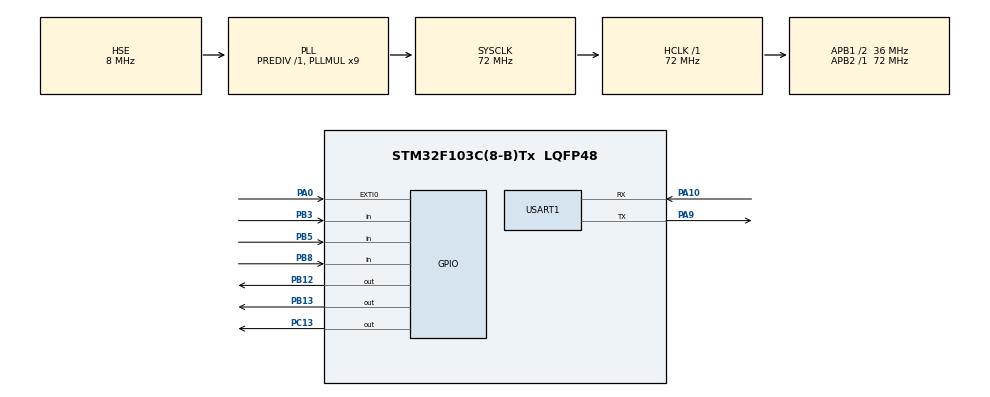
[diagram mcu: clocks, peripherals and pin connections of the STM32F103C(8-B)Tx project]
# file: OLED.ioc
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Mcu.Family=STM32F1
Mcu.Name=STM32F103C(8-B)Tx
Mcu.Package=LQFP48
NVIC.EXTI0_IRQn=true\:0\:0\:false\:false\:true\:true\:true\:true
NVIC.PriorityGroup=NVIC_PRIORITYGROUP_4
NVIC.TIM2_IRQn=true\:0\:0\:false\:false\:true\:true\:true\:true
PA0-WKUP.GPIO_PuPd=GPIO_PULLDOWN
PA0-WKUP.Signal=GPXTI0
PA10.Mode=Asynchronous
PA10.Signal=USART1_RX
PA13.Mode=Serial_Wire
PA13.Signal=SYS_JTMS-SWDIO
PA14.Mode=Serial_Wire
PA14.Signal=SYS_JTCK-SWCLK
PA9.Mode=Asynchronous
PA9.Signal=USART1_TX
PB12.GPIO_ModeDefaultOutputPP=GPIO_MODE_OUTPUT_OD
PB12.GPIO_PuPd=GPIO_PULLUP
PB12.PinState=GPIO_PIN_SET
PB12.Signal=GPIO_Output
PB13.GPIO_ModeDefaultOutputPP=GPIO_MODE_OUTPUT_OD
PB13.GPIO_PuPd=GPIO_PULLUP
PB13.PinState=GPIO_PIN_SET
PB13.Signal=GPIO_Output
PB3.GPIO_PuPd=GPIO_PULLUP
PB3.Signal=GPIO_Input
PB5.GPIO_PuPd=GPIO_PULLUP
PB5.Signal=GPIO_Input
PB8.GPIO_PuPd=GPIO_PULLUP
PB8.Signal=GPIO_Input
PC13-TAMPER-RTC.GPIO_ModeDefaultOutputPP=GPIO_MODE_OUTPUT_PP
PC13-TAMPER-RTC.GPIO_PuPd=GPIO_PULLUP
PC13-TAMPER-RTC.PinState=GPIO_PIN_SET
PC13-TAMPER-RTC.Signal=GPIO_Output
PC14-OSC32_IN.Mode=LSE-External-Oscillator
PC14-OSC32_IN.Signal=RCC_OSC32_IN
PC15-OSC32_OUT.Mode=LSE-External-Oscillator
PC15-OSC32_OUT.Signal=RCC_OSC32_OUT
PD0-OSC_IN.Mode=HSE-External-Oscillator
PD0-OSC_IN.Signal=RCC_OSC_IN
PD1-OSC_OUT.Mode=HSE-External-Oscillator
PD1-OSC_OUT.Signal=RCC_OSC_OUT
ProjectManager.HeapSize=0x200
ProjectManager.StackSize=0x400
ProjectManager.TargetToolchain=MDK-ARM V5.32
RCC.AHBFreq_Value=72000000
RCC.APB1CLKDivider=RCC_HCLK_DIV2
RCC.APB1Freq_Value=36000000
RCC.APB1TimFreq_Value=72000000
RCC.APB2Freq_Value=72000000
RCC.APB2TimFreq_Value=72000000
RCC.HCLKFreq_Value=72000000
RCC.PLLMUL=RCC_PLL_MUL9
RCC.PLLSourceVirtual=RCC_PLLSOURCE_HSE
RCC.RTCClockSelection=RCC_RTCCLKSOURCE_LSE
RCC.SYSCLKFreq_VALUE=72000000
RCC.SYSCLKSource=RCC_SYSCLKSOURCE_PLLCLK
RCC.USBFreq_Value=72000000
RTC.Date=20
RTC.Hours=20
RTC.Minutes=15
RTC.Month=RTC_MONTH_MARCH
RTC.OutPut=RTC_OUTPUTSOURCE_NONE
RTC.WeekDay=RTC_WEEKDAY_FRIDAY
RTC.Year=26
TIM2.AutoReloadPreload=TIM_AUTORELOAD_PRELOAD_ENABLE
TIM2.Period=1000
TIM2.Prescaler=71
USART1.VirtualMode=VM_ASYNC
VP_RTC_No_RTC_Output.Mode=RTC_OUT_NO
VP_RTC_VS_RTC_Activate.Mode=RTC_Enabled
VP_RTC_VS_RTC_Calendar.Mode=RTC_Calendar
VP_TIM2_VS_ClockSourceINT.Mode=Internal
board=custom

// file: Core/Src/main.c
/* USER CODE BEGIN Header */
/**
  ******************************************************************************
  * @file           : main.c
  * @brief          : Main program body
  ******************************************************************************
  * @attention
  *
  * Copyright (c) 2025 STMicroelectronics.
  * All rights reserved.
  *
  * This software is licensed under terms that can be found in the LICENSE file
  * in the root directory of this software component.
  * If no LICENSE file comes with this software, it is provided AS-IS.
  *
  ******************************************************************************
  */
/* USER CODE END Header */
#include "main.h"
#include "rtc.h"
#include "tim.h"
#include "usart.h"
#include "gpio.h"

/* USER CODE BEGIN PD */
int fputc(int ch,FILE*f)
{
  HAL_UART_Transmit(&huart1,(uint8_t*)&ch,1,HAL_MAX_DELAY);
  return ch;
}

/* USER CODE END PD */

void SystemClock_Config(void);

/* USER CODE BEGIN 0 */

uint8_t CurrMode=1,NextMode=1;

/* USER CODE END 0 */

int main(void)
{

  /* MCU Configuration--------------------------------------------------------*/

  /* Reset of all peripherals, Initializes the Flash interface and the Systick. */
  HAL_Init();

  /* Configure the system clock */
  SystemClock_Config();

  /* USER CODE BEGIN SysInit */
    /* 检查是否是待机唤醒 */

  /* USER CODE END SysInit */

  /* Initialize all configured peripherals */
  MX_GPIO_Init();
  MX_USART1_UART_Init();
  MX_RTC_Init();
  MX_TIM2_Init();
  /* USER CODE BEGIN 2 */
	OLED_Init();
  HAL_TIM_Base_Start_IT(&htim2);
  /* USER CODE END 2 */

  /* Infinite loop */
  /* USER CODE BEGIN WHILE */

  //使PC13引脚不被RTC控制
  while (1)
  {
    LOW_Loop();
    switch_Loop();
    if(CurrMode==NextMode)
    {
         GLOBAL_Loop(CurrMode);
    }
    else
    {
        GLOBAL_Exit(CurrMode);
        GLOBAL_init(NextMode);
        CurrMode=NextMode;
    }

  }
    /* USER CODE END WHILE */

}

void SystemClock_Config(void)
{
  RCC_OscInitTypeDef RCC_OscInitStruct = {0};
  RCC_ClkInitTypeDef RCC_ClkInitStruct = {0};
  RCC_PeriphCLKInitTypeDef PeriphClkInit = {0};

  /** Initializes the RCC Oscillators according to the specified parameters
  * in the RCC_OscInitTypeDef structure.
  */
  RCC_OscInitStruct.OscillatorType = RCC_OSCILLATORTYPE_HSE|RCC_OSCILLATORTYPE_LSE;
  RCC_OscInitStruct.HSEState = RCC_HSE_ON;
  RCC_OscInitStruct.HSEPredivValue = RCC_HSE_PREDIV_DIV1;
  RCC_OscInitStruct.LSEState = RCC_LSE_ON;
  RCC_OscInitStruct.HSIState = RCC_HSI_ON;
  RCC_OscInitStruct.PLL.PLLState = RCC_PLL_ON;
  RCC_OscInitStruct.PLL.PLLSource = RCC_PLLSOURCE_HSE;
  RCC_OscInitStruct.PLL.PLLMUL = RCC_PLL_MUL9;
  if (HAL_RCC_OscConfig(&RCC_OscInitStruct) != HAL_OK)
  {
    Error_Handler();
  }

  /** Initializes the CPU, AHB and APB buses clocks
  */
  RCC_ClkInitStruct.ClockType = RCC_CLOCKTYPE_HCLK|RCC_CLOCKTYPE_SYSCLK
                              |RCC_CLOCKTYPE_PCLK1|RCC_CLOCKTYPE_PCLK2;
  RCC_ClkInitStruct.SYSCLKSource = RCC_SYSCLKSOURCE_PLLCLK;
  RCC_ClkInitStruct.AHBCLKDivider = RCC_SYSCLK_DIV1;
  RCC_ClkInitStruct.APB1CLKDivider = RCC_HCLK_DIV2;
  RCC_ClkInitStruct.APB2CLKDivider = RCC_HCLK_DIV1;

  if (HAL_RCC_ClockConfig(&RCC_ClkInitStruct, FLASH_LATENCY_2) != HAL_OK)
  {
    Error_Handler();
  }
  PeriphClkInit.PeriphClockSelection = RCC_PERIPHCLK_RTC;
  PeriphClkInit.RTCClockSelection = RCC_RTCCLKSOURCE_LSE;
  if (HAL_RCCEx_PeriphCLKConfig(&PeriphClkInit) != HAL_OK)
  {
    Error_Handler();
  }
}

/* USER CODE BEGIN 4 */

void HAL_TIM_PeriodElapsedCallback(TIM_HandleTypeDef *htim)
{
    if(htim==&htim2)
    {
        TIM_Tick();
        StopWatch_Tick();
        LOW_Tick();
        switch_Tick();
    }
}

/* USER CODE END 4 */

void Error_Handler(void)
{
  __disable_irq();
  while (1)
  {
  }
}
